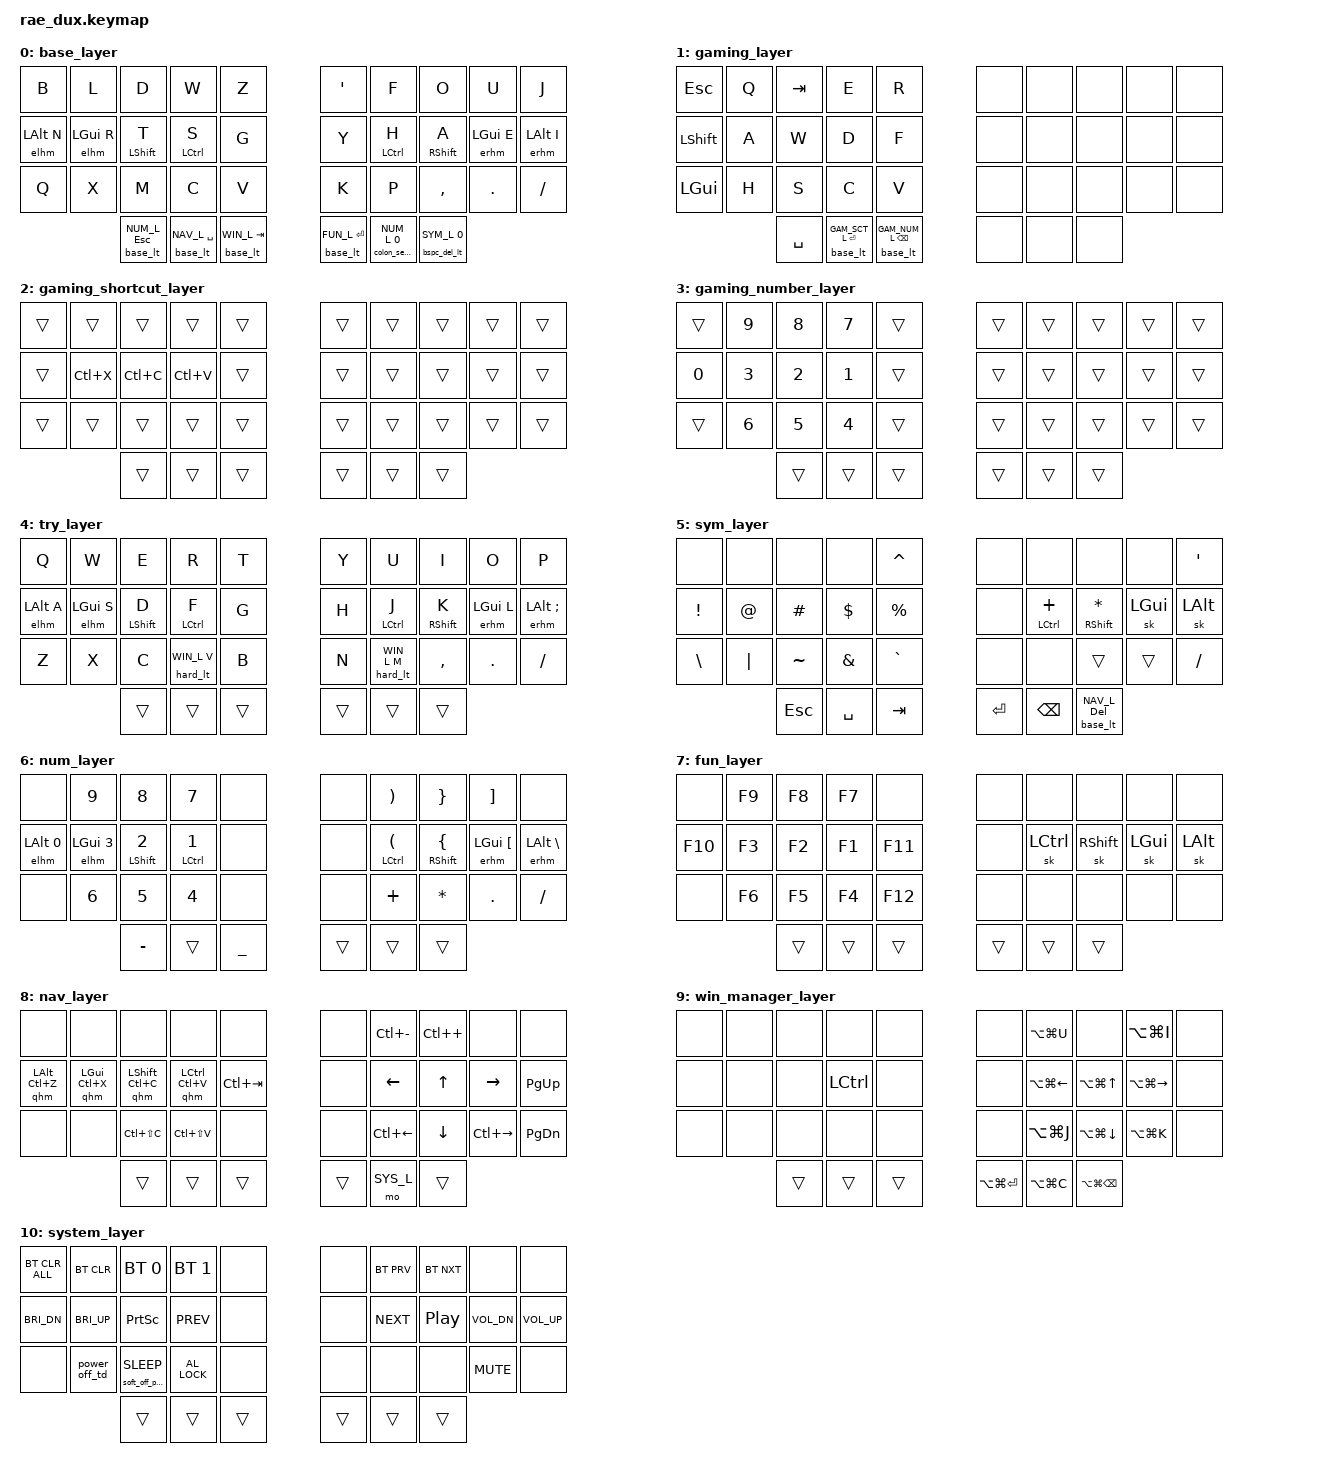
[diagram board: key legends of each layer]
/*
 * Copyright (c) 2021 The ZMK Contributors
 *
 * SPDX-License-Identifier: MIT
 */

#include <dt-bindings/zmk/bt.h>
#include <dt-bindings/zmk/keys.h>
#include <behaviors.dtsi>

#define BASE_L    0
#define GAM_L     1
#define GAM_SCT_L 2
#define GAM_NUM_L 3
#define TRY_L     4
#define SYM_L     5
#define NUM_L     6
#define FUN_L     7
#define NAV_L     8
#define WIN_L     9
#define SYS_L     10

#define COMBO_TIME 30
#define COMBO_TIME_LONG 60

#include "features/behavior_settings.dtsi"
#include "features/macros.dtsi"
#include "features/combos.dtsi"
#include "features/behaviors.dtsi"

/ {
	keymap {
		compatible = "zmk,keymap";

		base_layer {
			bindings = <
        &kp B        &kp L         &kp D               &kp W                &kp Z              &kp APOS           &kp F                   &kp O                 &kp U         &kp J
        &elhm LALT N &elhm LGUI R  &lhm LSHIFT T       &lhm LCTRL S         &kp G              &kp Y              &rhm LCTRL H            &rhm RSHIFT A         &erhm LGUI E  &erhm LALT I
        &kp Q        &kp X         &kp M               &kp C                &kp V              &kp K              &kp P                   &kp COMMA             &kp DOT       &kp FSLH
		    /*&          &*/           &base_lt NUM_L ESC  &base_lt NAV_L SPACE &base_lt WIN_L TAB &base_lt FUN_L RET &colon_semi_lt NUM_L 0  &bspc_del_lt SYM_L 0  /*&           &*/
			>;
		};

		gaming_layer {
			bindings = <
        &kp ESC      &kp Q       &kp TAB          &kp E                    &kp R                     &none              &none                &none              &none         &none
        &kp LSHIFT   &kp A       &kp W            &kp D                    &kp F                     &none              &none                &none              &none         &none
        &kp LGUI     &kp H       &kp S            &kp C                    &kp V                     &none              &none                &none              &none         &none
        /*&          &*/         &kp SPACE        &base_lt GAM_SCT_L RET   &base_lt GAM_NUM_L BSPC   &none              &none                &none              /*&           &*/
			>;
		};

		gaming_shortcut_layer {
			bindings = <
        &trans       &trans      &trans           &trans            &trans             &trans             &trans               &trans             &trans        &trans
        &trans       &kp LC(X)   &kp LC(C)        &kp LC(V)         &trans             &trans             &trans               &trans             &trans        &trans
        &trans       &trans      &trans           &trans            &trans             &trans             &trans               &trans             &trans        &trans
        /*&          &*/         &trans           &trans            &trans             &trans             &trans               &trans             /*&           &*/
			>;
		};

		gaming_number_layer {
			bindings = <
        &trans       &kp N9      &kp N8           &kp N7            &trans             &trans             &trans               &trans             &trans        &trans
        &kp N0       &kp N3      &kp N2           &kp N1            &trans             &trans             &trans               &trans             &trans        &trans
        &trans       &kp N6      &kp N5           &kp N4            &trans             &trans             &trans               &trans             &trans        &trans
        /*&          &*/         &trans           &trans            &trans             &trans             &trans               &trans             /*&           &*/
			>;
		};

		try_layer {
			bindings = <
        &kp Q        &kp W         &kp E                 &kp R                &kp T              &kp Y              &kp U                &kp I              &kp O         &kp P
        &elhm LALT A &elhm LGUI S  &lhm LSHIFT D         &lhm LCTRL F         &kp G              &kp H              &rhm LCTRL J         &rhm RSHIFT K      &erhm LGUI L  &erhm LALT SEMI
        &kp Z        &kp X         &kp C                 &hard_lt WIN_L V     &kp B              &kp N              &hard_lt WIN_L M     &kp COMMA          &kp DOT       &kp FSLH
        /*&          &*/           &trans                &trans               &trans             &trans             &trans               &trans             /*&           &*/
			>;
		};

		sym_layer {
			bindings = <
        &none          &none         &none            &none              &kp CARET          &none           &none            &none               &none       &kp APOS
        &kp EXCL       &kp AT        &kp HASH         &kp DLLR           &kp PRCNT          &none           &rhm LCTRL PLUS  &rhm RSHIFT STAR    &sk LGUI    &sk LALT
        &kp BSLH       &kp PIPE      &kp TILDE        &kp AMPS           &kp GRAVE          &none           &none            &trans              &trans      &kp FSLH
        /*&            &*/           &kp ESC          &kp SPACE          &kp TAB            &kp RET         &kp BSPC         &base_lt NAV_L DEL  /*&           &*/
			>;
		};

		num_layer {
			bindings = <
        &none         &kp N9           &kp N8            &kp N7             &none              &none      &kp RPAR        &kp RIGHT_BRACE        &kp RBKT         &none
        &elhm LALT N0 &elhm LGUI N3    &lhm LSHIFT N2    &lhm LCTRL N1      &none              &none      &rhm LCTRL LPAR &rhm RSHIFT LEFT_BRACE &erhm LGUI LBKT  &erhm LALT BSLH
        &none         &kp N6           &kp N5            &kp N4             &none              &none      &kp PLUS        &kp STAR               &kp DOT          &kp FSLH
        /*&           &*/              &kp MINUS         &trans             &kp UNDER          &trans     &trans          &trans                 /*&              &*/
			>;
		};

		fun_layer {
			bindings = <
        &none              &kp F9        &kp F8        &kp F7           &none              &none               &none            &none        &none         &none
        &kp F10            &kp F3        &kp F2        &kp F1           &kp F11            &none               &sk LCTRL        &sk RSHIFT   &sk LGUI      &sk LALT
        &none              &kp F6        &kp F5        &kp F4           &kp F12            &none               &none            &none        &none         &none
        /*&                &*/           &trans        &trans           &trans             &trans              &trans           &trans       /*&           &*/
			>;
		};

    nav_layer {
			bindings = <
        &none            &none             &none             &none             &none              &none               &kp LC(MINUS)       &kp LC(PLUS)          &none           &none
        &qhm LALT LC(Z)  &qhm LGUI LC(X)   &qhm LSHIFT LC(C) &qhm LCTRL LC(V)  &kp LC(TAB)        &none               &kp LEFT            &kp UP                &kp RIGHT       &kp PG_UP
        &none            &none             &kp LC(LS(C))     &kp LC(LS(V))     &none              &none               &kp LC(LEFT)        &kp DOWN              &kp LC(RIGHT)   &kp PG_DN
        /*&              &*/               &trans            &trans            &trans             &trans              &mo SYS_L           &trans                /*&             &*/
			>;
		};

    win_manager_layer {
			bindings = <
        &none            &none             &none             &none             &none              &none               &kp LA(LG(U))       &none                 &kp LA(LG(I))      &none
        &none            &none             &none             &kp LCTRL         &none              &none               &kp LA(LG(LEFT))    &kp LA(LG(UP))        &kp LA(LG(RIGHT))  &none
        &none            &none             &none             &none             &none              &none               &kp LA(LG(J))       &kp LA(LG(DOWN))      &kp LA(LG(K))      &none
        /*&              &*/               &trans            &trans            &trans             &kp LA(LG(RET))     &kp LA(LG(C))       &kp LA(LG(BSPC))      /*&                &*/
			>;
		};

		system_layer {
			bindings = <
        &bt BT_CLR_ALL  &bt BT_CLR      &bt BT_SEL 0             &bt BT_SEL 1       &none            &none               &bt BT_PRV       &bt BT_NXT            &none           &none
        &kp C_BRI_DN    &kp C_BRI_UP    &kp PSCRN                &kp C_PREV         &none            &none               &kp C_NEXT       &kp C_PP              &kp C_VOL_DN    &kp C_VOL_UP
        &none           &power_off_td   &soft_off_param C_SLEEP  &kp C_AL_LOCK      &none            &none               &none            &none                 &kp C_MUTE      &none
        /*&             &*/             &trans                   &trans             &trans           &trans              &trans           &trans                /*&             &*/
			>;
		};
	};
};

